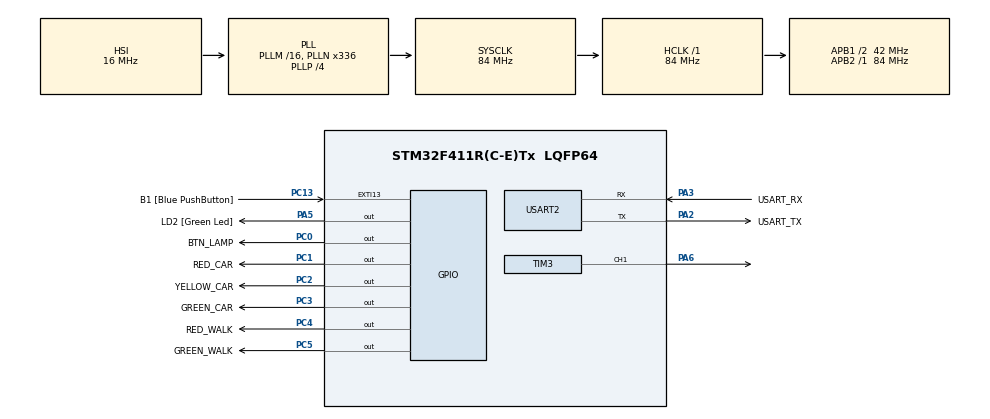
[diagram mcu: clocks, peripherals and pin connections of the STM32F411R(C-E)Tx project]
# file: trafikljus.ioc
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Mcu.Family=STM32F4
Mcu.Name=STM32F411R(C-E)Tx
Mcu.Package=LQFP64
NVIC.EXTI15_10_IRQn=true\:0\:0\:false\:false\:true\:true\:true\:true
NVIC.PriorityGroup=NVIC_PRIORITYGROUP_0
PA13.GPIO_Label=TMS
PA13.Mode=Serial_Wire
PA13.Signal=SYS_JTMS-SWDIO
PA14.GPIO_Label=TCK
PA14.Mode=Serial_Wire
PA14.Signal=SYS_JTCK-SWCLK
PA2.GPIO_Label=USART_TX
PA2.Mode=Asynchronous
PA2.Signal=USART2_TX
PA3.GPIO_Label=USART_RX
PA3.Mode=Asynchronous
PA3.Signal=USART2_RX
PA5.GPIO_Label=LD2 [Green Led]
PA5.Signal=GPIO_Output
PA6.Signal=S_TIM3_CH1
PB3.GPIO_Label=SWO
PB3.Signal=SYS_JTDO-SWO
PC0.GPIO_Label=BTN_LAMP
PC0.Signal=GPIO_Output
PC1.GPIO_Label=RED_CAR
PC1.Signal=GPIO_Output
PC13-ANTI_TAMP.GPIO_Label=B1 [Blue PushButton]
PC13-ANTI_TAMP.GPIO_ModeDefaultEXTI=GPIO_MODE_IT_FALLING
PC13-ANTI_TAMP.Signal=GPXTI13
PC14-OSC32_IN.Mode=LSE-External-Oscillator
PC14-OSC32_IN.Signal=RCC_OSC32_IN
PC15-OSC32_OUT.Mode=LSE-External-Oscillator
PC15-OSC32_OUT.Signal=RCC_OSC32_OUT
PC2.GPIO_Label=YELLOW_CAR
PC2.Signal=GPIO_Output
PC3.GPIO_Label=GREEN_CAR
PC3.Signal=GPIO_Output
PC4.GPIO_Label=RED_WALK
PC4.Signal=GPIO_Output
PC5.GPIO_Label=GREEN_WALK
PC5.Signal=GPIO_Output
PH0\ -\ OSC_IN.Mode=HSE-External-Clock-Source
PH0\ -\ OSC_IN.Signal=RCC_OSC_IN
PH1\ -\ OSC_OUT.Mode=HSE-External-Clock-Source
PH1\ -\ OSC_OUT.Signal=RCC_OSC_OUT
ProjectManager.HeapSize=0x200
ProjectManager.StackSize=0x400
ProjectManager.TargetToolchain=STM32CubeIDE
RCC.48MHZClocksFreq_Value=84000000
RCC.AHBFreq_Value=84000000
RCC.APB1CLKDivider=RCC_HCLK_DIV2
RCC.APB1Freq_Value=42000000
RCC.APB1TimFreq_Value=84000000
RCC.APB2Freq_Value=84000000
RCC.APB2TimFreq_Value=84000000
RCC.CortexFreq_Value=84000000
RCC.FLatency-AdvancedSettings=FLASH_LATENCY_2
RCC.HCLKFreq_Value=84000000
RCC.HSE_VALUE=8000000
RCC.HSI_VALUE=16000000
RCC.PLLN=336
RCC.PLLP=RCC_PLLP_DIV4
RCC.SYSCLKFreq_VALUE=84000000
RCC.SYSCLKSource=RCC_SYSCLKSOURCE_PLLCLK
RCC.VCOOutputFreq_Value=336000000
SH.S_TIM3_CH1.0=TIM3_CH1,PWM Generation1 CH1
TIM3.Channel-PWM\ Generation1\ CH1=TIM_CHANNEL_1
USART2.VirtualMode=VM_ASYNC
VP_TIM3_VS_ClockSourceINT.Mode=Internal
board=NUCLEO-F411RE

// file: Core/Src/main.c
/* USER CODE BEGIN Header */
/**
  ******************************************************************************
  * @file           : main.c
  * @brief          : Main program body
  ******************************************************************************
  * @attention
  *
  * Copyright (c) 2023 STMicroelectronics.
  * All rights reserved.
  *
  * This software is licensed under terms that can be found in the LICENSE file
  * in the root directory of this software component.
  * If no LICENSE file comes with this software, it is provided AS-IS.
  *
  ******************************************************************************
  */
/* USER CODE END Header */
#include "main.h"

TIM_HandleTypeDef htim3;

UART_HandleTypeDef huart2;

void SystemClock_Config(void);
static void MX_GPIO_Init(void);
static void MX_USART2_UART_Init(void);
static void MX_TIM3_Init(void);
/* USER CODE BEGIN PFP */
#define EVQ_SIZE 10

enum event
{
  ev_none = 0,
  ev_button_press = 1,
  ev_state_timeout = 2,
  ev_error = -99
};

enum state
{
  s_cars_go = 0,
  s_pushed_wait,
  s_cars_stopping,
  s_init,
  s_cars_stopped,
  s_pedestrian_walk,
  s_pedestrian_stop,
  s_cars_ready
};

uint32_t ticks_left_in_state = 0;

enum event evq[ EVQ_SIZE ];

int evq_count = 0;
int evq_front_ix = 0;
int evq_rear_ix = 0;

void set_traffic_lights(enum state s);
int is_button_pressed();
void evq_push_back(enum event e);
enum event evq_pop_front();
void my_systick_handler();
void evq_init();
void my_systick_handler();
void push_button_light_on();
void push_button_light_off();

/* USER CODE END PFP */

/* USER CODE BEGIN 0 */

void push_button_light_off() {
	HAL_GPIO_WritePin(GPIOC, BTN_LAMP_Pin, GPIO_PIN_RESET);
}

void push_button_light_on() {
    HAL_GPIO_WritePin(GPIOC, BTN_LAMP_Pin, GPIO_PIN_SET);
}

uint32_t systick_count = 0;
void my_systick_handler()
{
  // Kontrollera om det är dags att generera en ev_state_timeout
  if (ticks_left_in_state != 0)
  {
	  ticks_left_in_state -= (HAL_GetTick()-systick_count);
	  if (ticks_left_in_state == 0)
	  {
	      evq_push_back(ev_state_timeout);
	  }
  }

  systick_count++;
}

void evq_init() {
  for (int i = 0; i < EVQ_SIZE; i++) {
    evq[i] = ev_error;
  }
}

void evq_push_back(enum event e)
{
  // if queue is full, ignore e
  if ( evq_count < EVQ_SIZE )
  {
    evq[evq_rear_ix] = e;
    evq_rear_ix++;
    evq_rear_ix %= EVQ_SIZE;
    evq_count++;
  }
}

enum event evq_pop_front()
{
  enum event e = ev_none;
  if ( evq_count > 0 )
  {
    e = evq[evq_front_ix];
    evq[evq_front_ix] = ev_error; // detect stupidity
    evq_front_ix++;
    evq_front_ix %= EVQ_SIZE;
    evq_count--;
  }
  return e;
}

void set_traffic_lights(enum state s) {
  switch (s) {
    // OBS: Alla PINNAR ligger på PORT C, alltså GPIOC, använder pipe:ning s_init
    case s_cars_go:
      HAL_GPIO_WritePin(RED_CAR_GPIO_Port, RED_CAR_Pin, GPIO_PIN_RESET);
      HAL_GPIO_WritePin(YELLOW_CAR_GPIO_Port, YELLOW_CAR_Pin, GPIO_PIN_RESET);
      HAL_GPIO_WritePin(GREEN_CAR_GPIO_Port, GREEN_CAR_Pin, GPIO_PIN_SET);

      HAL_GPIO_WritePin(RED_WALK_GPIO_Port, RED_WALK_Pin, GPIO_PIN_SET);
      HAL_GPIO_WritePin(GREEN_WALK_GPIO_Port, GREEN_WALK_Pin, GPIO_PIN_RESET);
      break;

    case s_pushed_wait:
      HAL_GPIO_WritePin(RED_CAR_GPIO_Port, RED_CAR_Pin, GPIO_PIN_RESET);
      HAL_GPIO_WritePin(YELLOW_CAR_GPIO_Port, YELLOW_CAR_Pin, GPIO_PIN_RESET);
      HAL_GPIO_WritePin(GREEN_CAR_GPIO_Port, GREEN_CAR_Pin, GPIO_PIN_SET);

      HAL_GPIO_WritePin(RED_WALK_GPIO_Port, RED_WALK_Pin, GPIO_PIN_SET);
      HAL_GPIO_WritePin(GREEN_WALK_GPIO_Port, GREEN_WALK_Pin, GPIO_PIN_RESET);
      break;

    case s_cars_stopping:
      HAL_GPIO_WritePin(RED_CAR_GPIO_Port, RED_CAR_Pin, GPIO_PIN_RESET);
      HAL_GPIO_WritePin(YELLOW_CAR_GPIO_Port, YELLOW_CAR_Pin, GPIO_PIN_SET);
      HAL_GPIO_WritePin(GREEN_CAR_GPIO_Port, GREEN_CAR_Pin, GPIO_PIN_RESET);

      HAL_GPIO_WritePin(RED_WALK_GPIO_Port, RED_WALK_Pin, GPIO_PIN_SET);
      HAL_GPIO_WritePin(GREEN_WALK_GPIO_Port, GREEN_WALK_Pin, GPIO_PIN_RESET);
      break;

    case s_init:
      HAL_GPIO_WritePin(RED_CAR_GPIO_Port, RED_CAR_Pin | YELLOW_CAR_Pin | GREEN_CAR_Pin
                        | RED_WALK_Pin | GREEN_WALK_Pin, GPIO_PIN_SET);
      break;

    case s_cars_stopped:
      HAL_GPIO_WritePin(RED_CAR_GPIO_Port, RED_CAR_Pin, GPIO_PIN_SET);
      HAL_GPIO_WritePin(YELLOW_CAR_GPIO_Port, YELLOW_CAR_Pin, GPIO_PIN_RESET);
      HAL_GPIO_WritePin(GREEN_CAR_GPIO_Port, GREEN_CAR_Pin, GPIO_PIN_RESET);

      HAL_GPIO_WritePin(RED_WALK_GPIO_Port, RED_WALK_Pin, GPIO_PIN_SET);
      HAL_GPIO_WritePin(GREEN_WALK_GPIO_Port, GREEN_WALK_Pin, GPIO_PIN_RESET);
      break;

    case s_pedestrian_walk:
      HAL_GPIO_WritePin(RED_CAR_GPIO_Port, RED_CAR_Pin, GPIO_PIN_SET);
      HAL_GPIO_WritePin(YELLOW_CAR_GPIO_Port, YELLOW_CAR_Pin, GPIO_PIN_RESET);
      HAL_GPIO_WritePin(GREEN_CAR_GPIO_Port, GREEN_CAR_Pin, GPIO_PIN_RESET);

      HAL_GPIO_WritePin(RED_WALK_GPIO_Port, RED_WALK_Pin, GPIO_PIN_RESET);
      HAL_GPIO_WritePin(GREEN_WALK_GPIO_Port, GREEN_WALK_Pin, GPIO_PIN_SET);
      break;

    case s_pedestrian_stop:
      HAL_GPIO_WritePin(RED_CAR_GPIO_Port, RED_CAR_Pin, GPIO_PIN_SET);
      HAL_GPIO_WritePin(YELLOW_CAR_GPIO_Port, YELLOW_CAR_Pin, GPIO_PIN_RESET);
      HAL_GPIO_WritePin(GREEN_CAR_GPIO_Port, GREEN_CAR_Pin, GPIO_PIN_RESET);

      HAL_GPIO_WritePin(RED_WALK_GPIO_Port, RED_WALK_Pin, GPIO_PIN_SET);
      HAL_GPIO_WritePin(GREEN_WALK_GPIO_Port, GREEN_WALK_Pin, GPIO_PIN_RESET);
      break;

    case s_cars_ready:
      HAL_GPIO_WritePin(RED_CAR_GPIO_Port, RED_CAR_Pin, GPIO_PIN_SET);
      HAL_GPIO_WritePin(YELLOW_CAR_GPIO_Port, YELLOW_CAR_Pin, GPIO_PIN_SET);
      HAL_GPIO_WritePin(GREEN_CAR_GPIO_Port, GREEN_CAR_Pin, GPIO_PIN_RESET);

      HAL_GPIO_WritePin(RED_WALK_GPIO_Port, RED_WALK_Pin, GPIO_PIN_SET);
      HAL_GPIO_WritePin(GREEN_WALK_GPIO_Port, GREEN_WALK_Pin, GPIO_PIN_RESET);
      break;

    default:

      break;
  }
}

/* USER CODE END 0 */

int main(void)
{

  /* MCU Configuration--------------------------------------------------------*/

  /* Reset of all peripherals, Initializes the Flash interface and the Systick. */
  HAL_Init();

  /* Configure the system clock */
  SystemClock_Config();

  /* Initialize all configured peripherals */
  MX_GPIO_Init();
  MX_USART2_UART_Init();
  MX_TIM3_Init();
  HAL_TIM_PWM_Start(&htim3, TIM_CHANNEL_1);

  /* Infinite loop */
  /* USER CODE BEGIN WHILE */
  enum state current_state = s_init;
  enum event curr_event;
  evq_init();
  while (1)
  {
	curr_event = evq_pop_front();
    // Hantera nästa tillstånd baserat på nuvarande tillstånd och händelse
    switch (current_state) {
        case s_init:
            // Hantera händelser i s_init-tillståndet
            if (curr_event == ev_button_press) {
                // Gå till nästa tillstånd
                current_state = s_cars_stopped;
                set_traffic_lights(current_state);
                // Sätt timeout för nästa tillstånd
                ticks_left_in_state = 3000;
            }
            else
            {
                set_traffic_lights(current_state);
            }
            break;

        case s_cars_stopping:
            // Hantera händelser i s_cars_stopping-tillståndet
            if (curr_event == ev_state_timeout) {
                // Gå till nästa tillstånd
                current_state = s_cars_stopped;
                set_traffic_lights(current_state);
                // Sätt timeout för nästa tillstånd
                ticks_left_in_state = 3000;
            }
            break;

        case s_cars_stopped:
            // Hantera händelser i s_cars_stopped-tillståndet
            if (curr_event == ev_state_timeout) {
                // Gå till nästa tillstånd
                current_state = s_pedestrian_walk;
                set_traffic_lights(current_state);
                // Sätt timeout för nästa tillstånd
                ticks_left_in_state = 5000;
            }
            break;

        case s_pedestrian_walk:
            // Hantera händelser i s_pedestrian_walk-tillståndet
            if (curr_event == ev_state_timeout) {
                // Gå till nästa tillstånd
                current_state = s_pedestrian_stop;
                set_traffic_lights(current_state);
                // Sätt timeout för nästa tillstånd
                ticks_left_in_state = 3000;
            }
            break;

        case s_pedestrian_stop:
            // Hantera händelser i s_pedestrian_stop-tillståndet
            if (curr_event == ev_state_timeout) {
                // Gå till nästa tillstånd
                current_state = s_cars_ready;
                set_traffic_lights(current_state);
                // Sätt timeout för nästa tillstånd
                ticks_left_in_state = 2000;
            }
            break;

        case s_cars_ready:
            // Hantera händelser i s_cars_ready-tillståndet
            if (curr_event == ev_state_timeout) {
                // Gå till nästa tillstånd
                current_state = s_cars_go;
                set_traffic_lights(current_state);
                // Sätt timeout för nästa tillstånd
                ticks_left_in_state = 0;
            }
            break;

        case s_cars_go:
            // Hantera händelser i s_cars_go-tillståndet
            if (curr_event == ev_button_press) {

                // Gå till nästa tillstånd
                current_state = s_pushed_wait;
                set_traffic_lights(current_state);
                // Sätt på lampan
                push_button_light_on();
                // Sätt timeout för nästa tillstånd
                ticks_left_in_state = 2000;
            }
            else
            {
                set_traffic_lights(current_state);
            }
            break;

        case s_pushed_wait:
            // Hantera händelser i s_pushed_wait-tillståndet
            if (curr_event == ev_state_timeout) {
                // Stäng av lampan
                push_button_light_off();
                // Gå till nästa tillstånd
                current_state = s_cars_stopping;
                // Sätt timeout för nästa tillstånd
                ticks_left_in_state = 1000;
                set_traffic_lights(current_state);
            }
            break;
    }

    HAL_Delay(1);
    /* USER CODE END WHILE */

  }
}

void SystemClock_Config(void)
{
  RCC_OscInitTypeDef RCC_OscInitStruct = {0};
  RCC_ClkInitTypeDef RCC_ClkInitStruct = {0};

  /** Configure the main internal regulator output voltage
  */
  __HAL_RCC_PWR_CLK_ENABLE();
  __HAL_PWR_VOLTAGESCALING_CONFIG(PWR_REGULATOR_VOLTAGE_SCALE1);

  /** Initializes the RCC Oscillators according to the specified parameters
  * in the RCC_OscInitTypeDef structure.
  */
  RCC_OscInitStruct.OscillatorType = RCC_OSCILLATORTYPE_HSI;
  RCC_OscInitStruct.HSIState = RCC_HSI_ON;
  RCC_OscInitStruct.HSICalibrationValue = RCC_HSICALIBRATION_DEFAULT;
  RCC_OscInitStruct.PLL.PLLState = RCC_PLL_ON;
  RCC_OscInitStruct.PLL.PLLSource = RCC_PLLSOURCE_HSI;
  RCC_OscInitStruct.PLL.PLLM = 16;
  RCC_OscInitStruct.PLL.PLLN = 336;
  RCC_OscInitStruct.PLL.PLLP = RCC_PLLP_DIV4;
  RCC_OscInitStruct.PLL.PLLQ = 4;
  if (HAL_RCC_OscConfig(&RCC_OscInitStruct) != HAL_OK)
  {
    Error_Handler();
  }

  /** Initializes the CPU, AHB and APB buses clocks
  */
  RCC_ClkInitStruct.ClockType = RCC_CLOCKTYPE_HCLK|RCC_CLOCKTYPE_SYSCLK
                              |RCC_CLOCKTYPE_PCLK1|RCC_CLOCKTYPE_PCLK2;
  RCC_ClkInitStruct.SYSCLKSource = RCC_SYSCLKSOURCE_PLLCLK;
  RCC_ClkInitStruct.AHBCLKDivider = RCC_SYSCLK_DIV1;
  RCC_ClkInitStruct.APB1CLKDivider = RCC_HCLK_DIV2;
  RCC_ClkInitStruct.APB2CLKDivider = RCC_HCLK_DIV1;

  if (HAL_RCC_ClockConfig(&RCC_ClkInitStruct, FLASH_LATENCY_2) != HAL_OK)
  {
    Error_Handler();
  }
}

static void MX_TIM3_Init(void)
{

  TIM_ClockConfigTypeDef sClockSourceConfig = {0};
  TIM_MasterConfigTypeDef sMasterConfig = {0};
  TIM_OC_InitTypeDef sConfigOC = {0};

  htim3.Instance = TIM3;
  htim3.Init.Prescaler = 0;
  htim3.Init.CounterMode = TIM_COUNTERMODE_UP;
  htim3.Init.Period = 65535;
  htim3.Init.ClockDivision = TIM_CLOCKDIVISION_DIV1;
  htim3.Init.AutoReloadPreload = TIM_AUTORELOAD_PRELOAD_DISABLE;
  if (HAL_TIM_Base_Init(&htim3) != HAL_OK)
  {
    Error_Handler();
  }
  sClockSourceConfig.ClockSource = TIM_CLOCKSOURCE_INTERNAL;
  if (HAL_TIM_ConfigClockSource(&htim3, &sClockSourceConfig) != HAL_OK)
  {
    Error_Handler();
  }
  if (HAL_TIM_PWM_Init(&htim3) != HAL_OK)
  {
    Error_Handler();
  }
  sMasterConfig.MasterOutputTrigger = TIM_TRGO_RESET;
  sMasterConfig.MasterSlaveMode = TIM_MASTERSLAVEMODE_DISABLE;
  if (HAL_TIMEx_MasterConfigSynchronization(&htim3, &sMasterConfig) != HAL_OK)
  {
    Error_Handler();
  }
  sConfigOC.OCMode = TIM_OCMODE_PWM1;
  sConfigOC.Pulse = 0;
  sConfigOC.OCPolarity = TIM_OCPOLARITY_HIGH;
  sConfigOC.OCFastMode = TIM_OCFAST_DISABLE;
  if (HAL_TIM_PWM_ConfigChannel(&htim3, &sConfigOC, TIM_CHANNEL_1) != HAL_OK)
  {
    Error_Handler();
  }
  HAL_TIM_MspPostInit(&htim3);

}

static void MX_USART2_UART_Init(void)
{

  huart2.Instance = USART2;
  huart2.Init.BaudRate = 115200;
  huart2.Init.WordLength = UART_WORDLENGTH_8B;
  huart2.Init.StopBits = UART_STOPBITS_1;
  huart2.Init.Parity = UART_PARITY_NONE;
  huart2.Init.Mode = UART_MODE_TX_RX;
  huart2.Init.HwFlowCtl = UART_HWCONTROL_NONE;
  huart2.Init.OverSampling = UART_OVERSAMPLING_16;
  if (HAL_UART_Init(&huart2) != HAL_OK)
  {
    Error_Handler();
  }

}

static void MX_GPIO_Init(void)
{
  GPIO_InitTypeDef GPIO_InitStruct = {0};

  /* GPIO Ports Clock Enable */
  __HAL_RCC_GPIOC_CLK_ENABLE();
  __HAL_RCC_GPIOH_CLK_ENABLE();
  __HAL_RCC_GPIOA_CLK_ENABLE();
  __HAL_RCC_GPIOB_CLK_ENABLE();

  /*Configure GPIO pin Output Level */
  HAL_GPIO_WritePin(GPIOC, BTN_LAMP_Pin|RED_CAR_Pin|YELLOW_CAR_Pin|GREEN_CAR_Pin
                          |RED_WALK_Pin|GREEN_WALK_Pin, GPIO_PIN_RESET);

  /*Configure GPIO pin Output Level */
  HAL_GPIO_WritePin(LD2_GPIO_Port, LD2_Pin, GPIO_PIN_RESET);

  /*Configure GPIO pin : B1_Pin */
  GPIO_InitStruct.Pin = B1_Pin;
  GPIO_InitStruct.Mode = GPIO_MODE_IT_FALLING;
  GPIO_InitStruct.Pull = GPIO_NOPULL;
  HAL_GPIO_Init(B1_GPIO_Port, &GPIO_InitStruct);

  /*Configure GPIO pins : BTN_LAMP_Pin RED_CAR_Pin YELLOW_CAR_Pin GREEN_CAR_Pin
                           RED_WALK_Pin GREEN_WALK_Pin */
  GPIO_InitStruct.Pin = BTN_LAMP_Pin|RED_CAR_Pin|YELLOW_CAR_Pin|GREEN_CAR_Pin
                          |RED_WALK_Pin|GREEN_WALK_Pin;
  GPIO_InitStruct.Mode = GPIO_MODE_OUTPUT_PP;
  GPIO_InitStruct.Pull = GPIO_NOPULL;
  GPIO_InitStruct.Speed = GPIO_SPEED_FREQ_LOW;
  HAL_GPIO_Init(GPIOC, &GPIO_InitStruct);

  /*Configure GPIO pin : LD2_Pin */
  GPIO_InitStruct.Pin = LD2_Pin;
  GPIO_InitStruct.Mode = GPIO_MODE_OUTPUT_PP;
  GPIO_InitStruct.Pull = GPIO_NOPULL;
  GPIO_InitStruct.Speed = GPIO_SPEED_FREQ_LOW;
  HAL_GPIO_Init(LD2_GPIO_Port, &GPIO_InitStruct);

  /* EXTI interrupt init*/
  HAL_NVIC_SetPriority(EXTI15_10_IRQn, 0, 0);
  HAL_NVIC_EnableIRQ(EXTI15_10_IRQn);

}

/* USER CODE BEGIN 4 */
void HAL_GPIO_EXTI_Callback( uint16_t GPIO_Pin ) {
    if(GPIO_Pin == B1_Pin)
    {
    	evq_push_back(ev_button_press);
    }
}
/* USER CODE END 4 */

void Error_Handler(void)
{
  __disable_irq();
  while (1)
  {
  }
}
